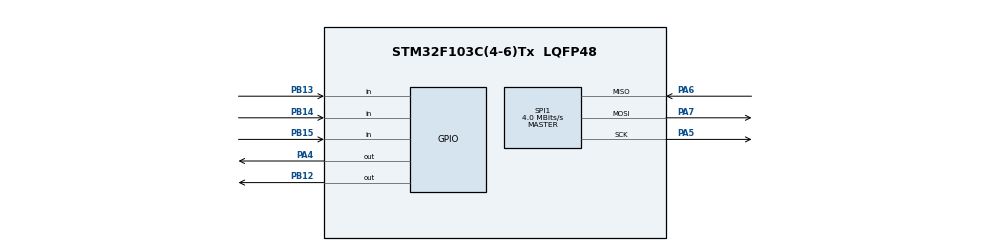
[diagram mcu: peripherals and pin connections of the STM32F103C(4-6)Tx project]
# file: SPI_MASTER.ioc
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Mcu.Family=STM32F1
Mcu.Name=STM32F103C(4-6)Tx
Mcu.Package=LQFP48
NVIC.PriorityGroup=NVIC_PRIORITYGROUP_4
PA4.Signal=GPIO_Output
PA5.Mode=Full_Duplex_Master
PA5.Signal=SPI1_SCK
PA6.Mode=Full_Duplex_Master
PA6.Signal=SPI1_MISO
PA7.Mode=Full_Duplex_Master
PA7.Signal=SPI1_MOSI
PB12.Signal=GPIO_Output
PB13.Signal=GPIO_Input
PB14.Signal=GPIO_Input
PB15.Signal=GPIO_Input
ProjectManager.HeapSize=0x200
ProjectManager.StackSize=0x400
ProjectManager.TargetToolchain=STM32CubeIDE
RCC.APB1Freq_Value=8000000
RCC.APB2Freq_Value=8000000
SPI1.CalculateBaudRate=4.0 MBits/s
SPI1.Direction=SPI_DIRECTION_2LINES
SPI1.Mode=SPI_MODE_MASTER
SPI1.VirtualType=VM_MASTER
VP_SYS_VS_ND.Mode=No_Debug
board=custom

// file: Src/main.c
/* USER CODE BEGIN Header */
/**
  ******************************************************************************
  * @file           : main.c
  * @brief          : Main program body
  ******************************************************************************
  * @attention
  *
  * <h2><center>&copy; Copyright (c) 2023 STMicroelectronics.
  * All rights reserved.</center></h2>
  *
  * This software component is licensed by ST under BSD 3-Clause license,
  * the "License"; You may not use this file except in compliance with the
  * License. You may obtain a copy of the License at:
  *                        opensource.org/licenses/BSD-3-Clause
  *
  ******************************************************************************
  */
/* USER CODE END Header */

#include "main.h"

SPI_HandleTypeDef hspi1;

/* USER CODE BEGIN PV */
char TxBuff1[20]="MASTER SEND ONE";
char TxBuff2[20]="MASTER SEND TWO";
uint8_t txBuffer = 0;
/* USER CODE END PV */

void SystemClock_Config(void);
static void MX_GPIO_Init(void);
static void MX_SPI1_Init(void);

int main(void)
{

  /* MCU Configuration--------------------------------------------------------*/

  /* Reset of all peripherals, Initializes the Flash interface and the Systick. */
  HAL_Init();

  /* Configure the system clock */
  SystemClock_Config();

  /* Initialize all configured peripherals */
  MX_GPIO_Init();
  MX_SPI1_Init();

  /* Infinite loop */
  while (1)
  {

    /* USER CODE BEGIN 3 */
    if((HAL_GPIO_ReadPin(GPIOB, GPIO_PIN_13)|HAL_GPIO_ReadPin(GPIOB, GPIO_PIN_14)|HAL_GPIO_ReadPin(GPIOB, GPIO_PIN_15))==GPIO_PIN_RESET)
    {
      HAL_GPIO_TogglePin(GPIOB, GPIO_PIN_12);
      HAL_Delay(100);
      //send For Polling Mode receive
      if(HAL_GPIO_ReadPin(GPIOB, GPIO_PIN_13)==GPIO_PIN_SET)
      {
        HAL_GPIO_WritePin(GPIOA, GPIO_PIN_4, GPIO_PIN_RESET);
        HAL_SPI_Transmit(&hspi1, (uint8_t*)TxBuff1, sizeof(TxBuff1),5000);
        HAL_GPIO_WritePin(GPIOA, GPIO_PIN_4, GPIO_PIN_SET);
        while(HAL_GPIO_ReadPin(GPIOB, GPIO_PIN_13)==GPIO_PIN_RESET);
      }
      //send For IT Mode receive
       if(HAL_GPIO_ReadPin(GPIOB, GPIO_PIN_14)==GPIO_PIN_SET)
       {
         txBuffer=txBuffer == 0?1:0;
         HAL_GPIO_WritePin(GPIOA, GPIO_PIN_4, GPIO_PIN_RESET);
         HAL_SPI_Transmit(&hspi1,&txBuffer, sizeof(txBuffer),5000);
         HAL_GPIO_WritePin(GPIOA, GPIO_PIN_4, GPIO_PIN_SET);
         while(HAL_GPIO_ReadPin(GPIOB, GPIO_PIN_14)==GPIO_PIN_RESET);
       }
       //send For IT Mode receive
       if(HAL_GPIO_ReadPin(GPIOB, GPIO_PIN_15)==GPIO_PIN_SET)
       {
         HAL_GPIO_WritePin(GPIOA, GPIO_PIN_4, GPIO_PIN_RESET);
         HAL_SPI_Transmit(&hspi1,(uint8_t*)TxBuff2, sizeof(TxBuff2),5000);
         HAL_GPIO_WritePin(GPIOA, GPIO_PIN_4, GPIO_PIN_SET);
         while(HAL_GPIO_ReadPin(GPIOB, GPIO_PIN_15)==GPIO_PIN_RESET);
       }
    }
  }
  /* USER CODE END 3 */
}

void SystemClock_Config(void)
{
  RCC_OscInitTypeDef RCC_OscInitStruct = {0};
  RCC_ClkInitTypeDef RCC_ClkInitStruct = {0};

  /** Initializes the CPU, AHB and APB busses clocks
  */
  RCC_OscInitStruct.OscillatorType = RCC_OSCILLATORTYPE_HSI;
  RCC_OscInitStruct.HSIState = RCC_HSI_ON;
  RCC_OscInitStruct.HSICalibrationValue = RCC_HSICALIBRATION_DEFAULT;
  RCC_OscInitStruct.PLL.PLLState = RCC_PLL_NONE;
  if (HAL_RCC_OscConfig(&RCC_OscInitStruct) != HAL_OK)
  {
    Error_Handler();
  }
  /** Initializes the CPU, AHB and APB busses clocks
  */
  RCC_ClkInitStruct.ClockType = RCC_CLOCKTYPE_HCLK|RCC_CLOCKTYPE_SYSCLK
                              |RCC_CLOCKTYPE_PCLK1|RCC_CLOCKTYPE_PCLK2;
  RCC_ClkInitStruct.SYSCLKSource = RCC_SYSCLKSOURCE_HSI;
  RCC_ClkInitStruct.AHBCLKDivider = RCC_SYSCLK_DIV1;
  RCC_ClkInitStruct.APB1CLKDivider = RCC_HCLK_DIV1;
  RCC_ClkInitStruct.APB2CLKDivider = RCC_HCLK_DIV1;

  if (HAL_RCC_ClockConfig(&RCC_ClkInitStruct, FLASH_LATENCY_0) != HAL_OK)
  {
    Error_Handler();
  }
}

static void MX_SPI1_Init(void)
{

  /* SPI1 parameter configuration*/
  hspi1.Instance = SPI1;
  hspi1.Init.Mode = SPI_MODE_MASTER;
  hspi1.Init.Direction = SPI_DIRECTION_2LINES;
  hspi1.Init.DataSize = SPI_DATASIZE_8BIT;
  hspi1.Init.CLKPolarity = SPI_POLARITY_LOW;
  hspi1.Init.CLKPhase = SPI_PHASE_1EDGE;
  hspi1.Init.NSS = SPI_NSS_SOFT;
  hspi1.Init.BaudRatePrescaler = SPI_BAUDRATEPRESCALER_2;
  hspi1.Init.FirstBit = SPI_FIRSTBIT_MSB;
  hspi1.Init.TIMode = SPI_TIMODE_DISABLE;
  hspi1.Init.CRCCalculation = SPI_CRCCALCULATION_DISABLE;
  hspi1.Init.CRCPolynomial = 10;
  if (HAL_SPI_Init(&hspi1) != HAL_OK)
  {
    Error_Handler();
  }

}

static void MX_GPIO_Init(void)
{
  GPIO_InitTypeDef GPIO_InitStruct = {0};

  /* GPIO Ports Clock Enable */
  __HAL_RCC_GPIOA_CLK_ENABLE();
  __HAL_RCC_GPIOB_CLK_ENABLE();

  /*Configure GPIO pin Output Level */
  HAL_GPIO_WritePin(GPIOA, GPIO_PIN_4, GPIO_PIN_RESET);

  /*Configure GPIO pin Output Level */
  HAL_GPIO_WritePin(GPIOB, GPIO_PIN_12, GPIO_PIN_RESET);

  /*Configure GPIO pin : PA4 */
  GPIO_InitStruct.Pin = GPIO_PIN_4;
  GPIO_InitStruct.Mode = GPIO_MODE_OUTPUT_PP;
  GPIO_InitStruct.Pull = GPIO_NOPULL;
  GPIO_InitStruct.Speed = GPIO_SPEED_FREQ_LOW;
  HAL_GPIO_Init(GPIOA, &GPIO_InitStruct);

  /*Configure GPIO pin : PB12 */
  GPIO_InitStruct.Pin = GPIO_PIN_12;
  GPIO_InitStruct.Mode = GPIO_MODE_OUTPUT_PP;
  GPIO_InitStruct.Pull = GPIO_NOPULL;
  GPIO_InitStruct.Speed = GPIO_SPEED_FREQ_LOW;
  HAL_GPIO_Init(GPIOB, &GPIO_InitStruct);

  /*Configure GPIO pins : PB13 PB14 PB15 */
  GPIO_InitStruct.Pin = GPIO_PIN_13|GPIO_PIN_14|GPIO_PIN_15;
  GPIO_InitStruct.Mode = GPIO_MODE_INPUT;
  GPIO_InitStruct.Pull = GPIO_NOPULL;
  HAL_GPIO_Init(GPIOB, &GPIO_InitStruct);

}

void Error_Handler(void)
{
}

/************************ (C) COPYRIGHT STMicroelectronics *****END OF FILE****/
